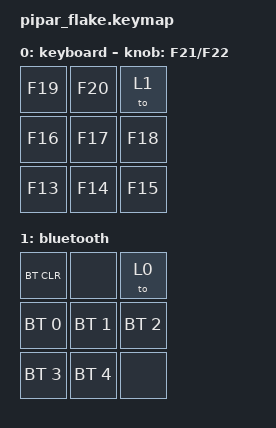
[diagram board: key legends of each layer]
/*
 * Copyright (c) 2022 The ZMK Contributors
 *
 * SPDX-License-Identifier: MIT
 */

#include <behaviors.dtsi>
#include <dt-bindings/zmk/bt.h>
#include <dt-bindings/zmk/keys.h>

#define BASE        0
#define FUNC        1

/ {
    sensors: sensors {
        compatible = "zmk,keymap-sensors";
        sensors = <&encoder_1>;
        triggers-per-rotation = <24>;
    };

    macros {
        new_1: new_macro {
            compatible = "zmk,behavior-macro";
            #binding-cells = <0>;
            bindings = <&kp A &kp N1>;
            label = "NEW_MACRO";
        };

        aew_2: new_macro_2 {
            compatible = "zmk,behavior-macro";
            #binding-cells = <0>;
            bindings = <&kp A &kp N2>;
            label = "NEW_MACRO2";
        };

        bew_3: new_macro3 {
            compatible = "zmk,behavior-macro";
            #binding-cells = <0>;
            bindings = <&kp A &kp N3>;
            label = "NEW_MACRO3";
        };

        cew_4: new_macro4 {
            compatible = "zmk,behavior-macro";
            #binding-cells = <0>;
            bindings = <&kp A &kp N4>;
            label = "NEW_MACRO4";
        };

        dew_5: new_macro5 {
            compatible = "zmk,behavior-macro";
            #binding-cells = <0>;
            bindings = <&kp A &kp N5>;
            label = "NEW_MACRO5";
        };

        eew_6: new_macro6 {
            compatible = "zmk,behavior-macro";
            #binding-cells = <0>;
            bindings = <&kp A &kp N6>;
            label = "NEW_MACRO6";
        };

        few_7: new_macro7 {
            compatible = "zmk,behavior-macro";
            #binding-cells = <0>;
            bindings = <&kp A &kp N7>;
            label = "NEW_MACRO7";
        };

        gew_8: new_macro8 {
            compatible = "zmk,behavior-macro";
            #binding-cells = <0>;
            bindings = <&kp A &kp N8>;
            label = "NEW_MACRO8";
        };
    };

    keymap {
        compatible = "zmk,keymap";

        Keyboard {
            // ---------------------------//
            // | Q    | W     | ENCODER | //
            // | A    | S     | D       | //
            // | Z    | X     | FN      | //

            display-name = "keyboard";
            bindings = <
&kp F19  &kp F20  &to 1
&kp F16  &kp F17  &kp F18
&kp F13  &kp F14  &kp F15
            >;

            sensor-bindings = <&inc_dec_kp F21 F22>;
        };

        function_layer {
            // --------------------------- //
            // | BT_CLR | none | ENCODER | //
            // | BT_0   | BT_1 | BT_2    | //
            // | BT_3   | BT_4 | trans   | //

            display-name = "bluetooth";
            bindings = <
&bt BT_CLR    &none         &to 0
&bt BT_SEL 0  &bt BT_SEL 1  &bt BT_SEL 2
&bt BT_SEL 3  &bt BT_SEL 4  &none
            >;
        };
    };
};
